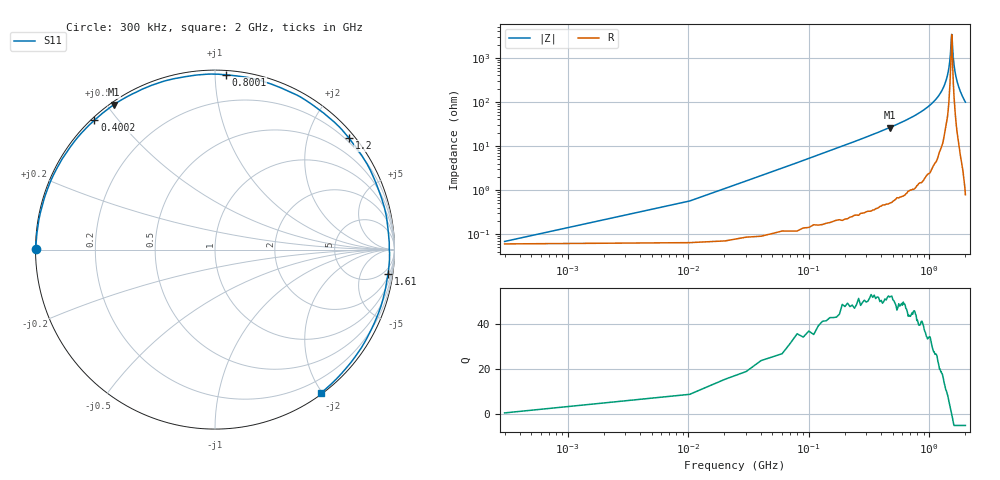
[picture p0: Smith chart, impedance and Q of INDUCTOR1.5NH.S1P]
!Agilent Technologies,E5071C,MY46520295,B.13.20
!Date: Fri Feb 09 07:24:52 2024
!Data & Calibration Information:
!Freq	S11:SOLT2(ON)
!PortZ  Port1:50+j0
!Above PortZ is port z conversion or system Z0 setting when saving the data.
!When reading, reference impedance value at option line is always used.
# Hz S RI R 50
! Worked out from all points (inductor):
!   201 points, 300 kHz to 2 GHz, reference 50 ohm
!   read as one part to ground: L = 8.52 nH near 10.3 MHz
!   highest Q = 52 at 470.2 MHz (marker M1), where L = 8.82 nH
!   self-resonance near 1.54 GHz
!   S11 on the Smith chart (normalised r, x): 300 kHz: 0.00, +0.00; 400.2 MHz: 0.01, +0.43; 800.1 MHz: 0.03, +1.06; 1.2 GHz: 0.13, +2.76; 1.61 GHz: 3, -14; 2 GHz: 0.02, -1.97
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300000  -0.9976 0.0013
7.0279e7  -0.9847 0.1452
1.30261e8  -0.9575 0.2651
1.90243e8  -0.9169 0.3791
2.50225e8  -0.8614 0.4878
3.30201e8  -0.7703 0.619
4.0018e8  -0.6721 0.7208
4.70159e8  -0.5635 0.807
5.0015e8  -0.5126 0.8391
5.60132e8  -0.4049 0.8941
6.30111e8  -0.275 0.9411
7.50075e8  -0.0402 0.9775
8.0006e8  0.0606 0.9744
8.90033e8  0.2359 0.9469
1e9  0.4393 0.8695
1.109967e9  0.6207 0.7477
1.19994e9  0.7461 0.6219
1.249925e9  0.805 0.5422
1.309907e9  0.8663 0.4409
1.389883e9  0.9257 0.2936
1.449865e9  0.956 0.1784
1.49985e9  0.9675 0.0792
1.609817e9  0.9634 -0.1379
1.679796e9  0.9363 -0.2749
1.749775e9  0.8892 -0.4058
1.809757e9  0.8356 -0.5131
1.879736e9  0.757 -0.6291
1.9997e9  0.588 -0.801
